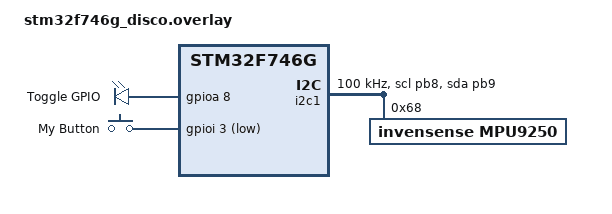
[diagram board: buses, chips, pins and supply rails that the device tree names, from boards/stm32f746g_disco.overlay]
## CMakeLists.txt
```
# SPDX-License-Identifier: Apache-2.0
cmake_minimum_required(VERSION 3.20.0)
find_package(Zephyr REQUIRED HINTS $ENV{ZEPHYR_BASE})
project(blinky)

set(NO_THREADSAFE_STATICS $<TARGET_PROPERTY:compiler-cpp,no_threadsafe_statics>)
zephyr_compile_options($<$<COMPILE_LANGUAGE:CXX>:${NO_THREADSAFE_STATICS}>)

file(GLOB app_sources src/*)

if(CONFIG_USE_CNN_MODEL)
    file(GLOB model_sources models/cnn/*)
    message(STATUS "Using CNN model")
else()
    file(GLOB model_sources models/dense/*)
    message(STATUS "Using Dense model")
endif()

target_sources(app PRIVATE ${app_sources} ${model_sources})
```

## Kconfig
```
source "Kconfig.zephyr"

config USE_CNN_MODEL
    bool "Use CNN model instead of dense model"
    default n
```

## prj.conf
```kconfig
CONFIG_I2C=y
CONFIG_SENSOR=y
CONFIG_MPU9250=y
CONFIG_FPU=y
CONFIG_FPU_SHARING=y
CONFIG_LOG=y
CONFIG_I2C_LOG_LEVEL_DBG=y
CONFIG_SENSOR_LOG_LEVEL_DBG=y
CONFIG_MPU9250_MAGN_EN=n
CONFIG_CPP=y
CONFIG_STD_CPP17=y
CONFIG_TENSORFLOW_LITE_MICRO=y
# CONFIG_USE_CNN_MODEL is not set
```

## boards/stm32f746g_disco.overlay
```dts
/ {
 
    gpio_outs {
        compatible = "gpio-leds";
        toggle: toggle_gpio {
            gpios = <&gpioa 8 GPIO_ACTIVE_HIGH>;   /* PA8 — D10 */
            label = "Toggle GPIO";
        }; 
    };

    buttons {
        compatible = "gpio-keys";
        my_button: my_button_0 {
            gpios = <&gpioi 3 (GPIO_ACTIVE_LOW | GPIO_PULL_UP)>;
            label = "My Button";
        };
    };
};

&i2c1 {
    status = "okay";
    clock-frequency = <I2C_BITRATE_STANDARD>; // 100kHz
    pinctrl-0=<&i2c1_scl_pb8 &i2c1_sda_pb9>;
    pinctrl-names = "default";

    mpu9250@68 {
        compatible = "invensense,mpu9250";
        reg = <0x68>; /* Inquiry: What does 'reg' represent here? */
        gyro-sr-div = <0>;
        gyro-dlpf = <250>;
        gyro-fs = <250>;
        accel-fs = <2>;
        accel-dlpf = "218.1";

    };
};
```

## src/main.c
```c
#include <stdio.h>
#include <stdlib.h>
#include <zephyr/kernel.h>
#include <zephyr/drivers/gpio.h>
#include <zephyr/drivers/pwm.h>
#include <zephyr/drivers/uart.h>
#include <zephyr/device.h>
#include <zephyr/console/console.h>


static char rx_buf[50];
#define CONSOLE_STACK 1024
/* 1000 msec = 1 sec */
#define SLEEP_MSEC   50

// struct k_work myWork;
// struct k_work pwm_work;

/*
 * A build error on this line means your board is unsupported.
 * See the sample documentation for information on how to fix this. */


// static const struct gpio_dt_spec led = GPIO_DT_SPEC_GET(LED0_NODE, gpios);
// static const struct gpio_dt_spec btn = GPIO_DT_SPEC_GET(DT_ALIAS(sw0), gpios);

int brightness =0;
unsigned char uart;
static int rx_idx =0;
volatile bool rx_ready = false; 

K_MSGQ_DEFINE(uart_msgq, 10, 4, 4);
K_THREAD_STACK_DEFINE(console_stack, CONSOLE_STACK);
const struct device *const uart_dev = DEVICE_DT_GET(DT_CHOSEN(zephyr_console));
static const struct pwm_dt_spec motor = PWM_DT_SPEC_GET(DT_ALIAS(pwm_motor));

static const struct gpio_dt_spec btn = GPIO_DT_SPEC_GET(DT_ALIAS(e_stop), gpios);


static struct gpio_callback button_cb_data;

// void my_work_handler(struct k_work *work) {
//     printk("Work processed\n");

// }

volatile bool motor_enabled = true;

void button_pressed(const struct device *dev, struct gpio_callback *cb,
		    uint32_t pins)
{
       motor_enabled = false;
	   brightness = 0; 
	  printk("Estop pressed! ENter RESEST to restart.\n");
}



// void update_pwm_handler(struct k_work *work){
// 	brightness = 
// 	pwm_set_pulse_dt(&motor, brightness); 
// }

static void uart_fifo_callback(const struct device *dev, void *user_data)
{	
	uint8_t duty_cycle;

	if(!uart_irq_update(uart_dev)){
		return;
	}

	if(!uart_irq_rx_ready(uart_dev) ){

		return ;
	}

	while(uart_fifo_read(uart_dev, &duty_cycle,1)==1){

		uart_poll_out(uart_dev, duty_cycle);

		if(duty_cycle == '\r' || duty_cycle == '\n'){

			rx_buf[rx_idx] = '\0';
			rx_idx=0;
			rx_ready = true;
			k_msgq_put(&uart_msgq, rx_buf, K_NO_WAIT);

		}

		else if (rx_idx < sizeof(rx_buf)-1){
			rx_buf[rx_idx++] = duty_cycle;
		}
	}
}


void console_thread(void *p1, void *p2, void *p3)   
{
	char buffer[50];                              
	printk("Enter duty cycle (0-100):\n");

	while(1){
		k_msgq_get(&uart_msgq, buffer, K_FOREVER); 

		if(!rx_ready){                             
			k_sleep(K_MSEC(10));
			continue;
		}
		rx_ready = false;                         

		if (strcmp(rx_buf, "RESET") == 0) {
			motor_enabled = true;
			printk("Motor reset. You can now set duty cycle.\n");
			continue;
		}

		int duty = atoi(rx_buf);                   

		if(duty < 0 || duty > 100){
			printk("invalid duty cycle\n");
			continue;
		}

		//change brightness here
		if(!motor_enabled){
			printk("Motor disabled! Press RESET to enable.\n");
			continue;
		}

		brightness = duty;
		printk("Duty cycle set to %d%%\n", duty);
	}
}


int main(void)
{
   int ret;
	printk("System started\n");

	// console_init();

	// task 2: device is ready checks
	if (!device_is_ready(uart_dev) ||
	    !pwm_is_ready_dt(&motor) ||
	    !device_is_ready(btn.port)) {
		return 0;
	}
	
	// configuring gpio
	ret = gpio_pin_configure_dt(&btn, GPIO_INPUT);
	if (ret < 0) {
		return 0;
	}

	// gpio ISR configure
    ret = gpio_pin_interrupt_configure_dt(&btn, GPIO_INT_EDGE_TO_ACTIVE);
    if (ret < 0) {
		return 0;
	}

	// gpio callback functions
    gpio_init_callback(&button_cb_data, button_pressed, BIT(btn.pin));
	gpio_add_callback(btn.port, &button_cb_data);
    

	uart_irq_callback_set(uart_dev, uart_fifo_callback);
	uart_irq_rx_enable(uart_dev);

	struct k_thread console_thread_data;

	k_thread_create(&console_thread_data, console_stack,
                    K_THREAD_STACK_SIZEOF(console_stack),
                    console_thread, NULL, NULL, NULL,
                    5, 0, K_NO_WAIT);

	while (1) {

		if(motor_enabled){
            pwm_set_pulse_dt(&motor, brightness * motor.period / 100);
        } else {
            pwm_set_pulse_dt(&motor, 0);
        }

       k_sleep(K_MSEC(20));

	}
    

	return 0;
}
```

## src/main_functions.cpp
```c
/*
 * Copyright 2020 The TensorFlow Authors. All Rights Reserved.
 *
 * Licensed under the Apache License, Version 2.0 (the "License");
 * you may not use this file except in compliance with the License.
 * You may obtain a copy of the License at
 *
 *     http://www.apache.org/licenses/LICENSE-2.0
 *
 * Unless required by applicable law or agreed to in writing, software
 * distributed under the License is distributed on an "AS IS" BASIS,
 * WITHOUT WARRANTIES OR CONDITIONS OF ANY KIND, either express or implied.
 * See the License for the specific language governing permissions and
 * limitations under the License.
 *
 * Copyright (c) 2025 Aerlync Labs Inc.
 */

#include "main_functions.h"

#include <tensorflow/lite/micro/micro_mutable_op_resolver.h>
#include <zephyr/kernel.h>

#include "constants.h"
// #include "dense_quantized_model.h"
#ifdef CONFIG_USE_CNN_MODEL
    #include "../models/cnn/cnn_quantized_model.h"
#else
    #include "../models/dense/dense_quantized_model.h"
#endif

#include "output_handler.hpp"
#include <tensorflow/lite/micro/micro_log.h>
#include <tensorflow/lite/micro/micro_interpreter.h>
#include <tensorflow/lite/micro/system_setup.h>
#include <tensorflow/lite/schema/schema_generated.h>


/* Globals, used for compatibility with Arduino-style sketches. */
namespace {
	const tflite::Model *model = nullptr;
	int inference_count = 0;
	// constexpr int kTensorArenaSize = 60 * 1024; // 60KB

	#ifdef CONFIG_USE_CNN_MODEL
		constexpr int kTensorArenaSize = 100 * 1024;
	#else
		constexpr int kTensorArenaSize = 60 * 1024;
	#endif
	// constexpr int kTensorArenaSize = 2000;
	uint8_t tensor_arena[kTensorArenaSize];
}  /* namespace */

TfLiteTensor *input = nullptr;
TfLiteTensor *output = nullptr;
tflite::MicroInterpreter *interpreter = nullptr;
uint32_t t_start_full = 0;  

/* The name of this function is important for Arduino compatibility. */
void setup(void)
{
	/* Map the model into a usable data structure. This doesn't involve any
	 * copying or parsing, it's a very lightweight operation.
	 */
	t_start_full = k_cycle_get_32(); //start end-to-end timer

	MicroPrintf("setup: starting");
	// model = tflite::GetModel(dense_quantized_model);
	#ifdef CONFIG_USE_CNN_MODEL
		model = tflite::GetModel(cnn_quantized_model);
	#else
		model = tflite::GetModel(dense_quantized_model);
	#endif

	    MicroPrintf("setup: model loaded");


	if (model->version() != TFLITE_SCHEMA_VERSION) {
		MicroPrintf("Model provided is schema version %d not equal "
					"to supported version %d.",
					model->version(), TFLITE_SCHEMA_VERSION);
		return;
	}

	    MicroPrintf("setup: schema ok");
	/* This pulls in the operation implementations we need.
	 * NOLINTNEXTLINE(runtime-global-variables)
	 */
	// static tflite::MicroMutableOpResolver <3> resolver;
	// resolver.AddFullyConnected();
	// resolver.AddReshape();
	// resolver.AddSoftmax();
	// // resolver.AddTanh();                                  // add this

	#ifdef CONFIG_USE_CNN_MODEL
		static tflite::MicroMutableOpResolver<5> resolver;
		resolver.AddConv2D();
		resolver.AddMaxPool2D();
		resolver.AddFullyConnected();
		resolver.AddReshape();
		resolver.AddSoftmax();
	#else
		static tflite::MicroMutableOpResolver<3> resolver;
		resolver.AddFullyConnected();
		resolver.AddReshape();
		resolver.AddSoftmax();
	#endif

	    MicroPrintf("setup: resolver ok");

	/* Build an interpreter to run the model with. */
	static tflite::MicroInterpreter static_interpreter(
		model, resolver, tensor_arena, kTensorArenaSize);
	interpreter = &static_interpreter;

	    MicroPrintf("setup: interpreter ok");

	/* Allocate memory from the tensor_arena for the model's tensors. */
	TfLiteStatus allocate_status = interpreter->AllocateTensors();
	if (allocate_status != kTfLiteOk) {
		MicroPrintf("AllocateTensors() failed");
		return;
	}

	MicroPrintf("setup: tensors allocated, arena used: %d",
                interpreter->arena_used_bytes());

	/* Obtain pointers to the model's input and output tensors. */
	input = interpreter->input(0);
	output = interpreter->output(0);

	/* Keep track of how many inferences we have performed. */
	inference_count = 0;

		uint32_t t_end_full = k_cycle_get_32(); //end timer end-to-end
		uint32_t cycles_full = t_end_full - t_start_full; 
		uint32_t freq_full = sys_clock_hw_cycles_per_sec();
		uint32_t full_latency_ms= (uint32_t)(((uint64_t)cycles_full * 1000U) / freq_full);

		printf("\nSetup Latency: %u ms\n", full_latency_ms);
	    MicroPrintf("setup: complete");
}
```

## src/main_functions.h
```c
/*
 * Copyright 2020 The TensorFlow Authors. All Rights Reserved.
 *
 * Licensed under the Apache License, Version 2.0 (the "License");
 * you may not use this file except in compliance with the License.
 * You may obtain a copy of the License at
 *
 *     http://www.apache.org/licenses/LICENSE-2.0
 *
 * Unless required by applicable law or agreed to in writing, software
 * distributed under the License is distributed on an "AS IS" BASIS,
 * WITHOUT WARRANTIES OR CONDITIONS OF ANY KIND, either express or implied.
 * See the License for the specific language governing permissions and
 * limitations under the License.
 */

#ifndef TENSORFLOW_LITE_MICRO_EXAMPLES_HELLO_WORLD_MAIN_FUNCTIONS_H_
#define TENSORFLOW_LITE_MICRO_EXAMPLES_HELLO_WORLD_MAIN_FUNCTIONS_H_
#include <cstdint>

extern uint32_t t_start_full;


/* Expose a C friendly interface for main functions. */
#ifdef __cplusplus
extern "C" {
#endif

/* Initializes all data needed for the example. The name is important, and needs
 * to be setup() for Arduino compatibility.
 */
void setup(void);

/* Runs one iteration of data gathering and inference. This should be called
 * repeatedly from the application code. The name needs to be loop() for Arduino
 * compatibility.
 */
// void loop(void);

#ifdef __cplusplus
}
#endif

#endif /* TENSORFLOW_LITE_MICRO_EXAMPLES_HELLO_WORLD_MAIN_FUNCTIONS_H_ */
```

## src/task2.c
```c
#include <zephyr/kernel.h>
#include <zephyr/sys/printk.h>
#include <zephyr/console/console.h>


int main(void)
{

    console_init();
    uint8_t var;



while (1) {
printk("Enter char\n");
var = console_getchar();
if(var=='q'){
    printk("exit");
    k_sleep(K_FOREVER);
}
printk("Recieved: %c", var);
printk(" | Hex: %x\n", var);
printk("------------------------------------------\n");



k_msleep(1000); // 1 second delay
}
return 0;
}
```
